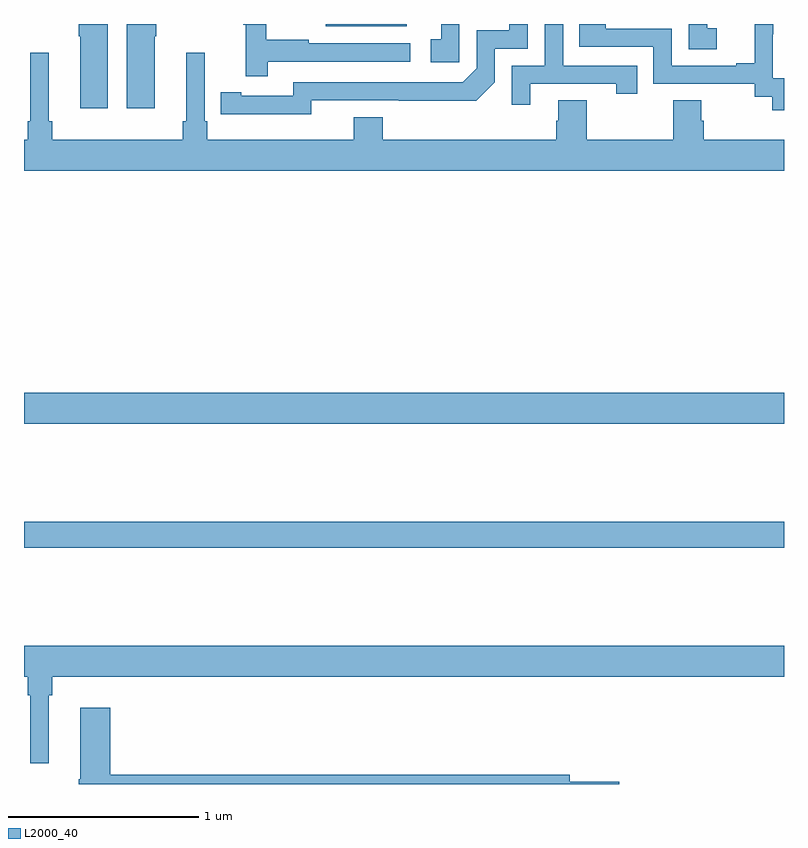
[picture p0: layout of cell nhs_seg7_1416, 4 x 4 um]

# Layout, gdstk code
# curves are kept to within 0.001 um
import gdstk
lib = gdstk.Library(unit=1e-6, precision=1e-09)
def R(c, l, rs):  # rectangles x0, y0, x1, y1
    for r in rs: c.add(gdstk.rectangle(r[:2], r[2:], *l))
def P(c, l, *ps):  # polygons
    for p in ps: c.add(gdstk.Polygon(p, *l))
L2000_40 = (2000, 40)

nhs_seg7_1416 = lib.new_cell('nhs_seg7_1416')
R(nhs_seg7_1416, L2000_40, [(207,1053.244,211,1053.38), (207,1053.896,211,1054.06), (208.587,1055.987,209.014,1056)])
P(nhs_seg7_1416, L2000_40, [(207.688,1055.935),(207.696,1055.935),(207.696,1056),(207.542,1056),(207.542,1055.556),(207.688,1055.556)],
  [(207.442,1056),(207.289,1056),(207.289,1055.935),(207.296,1055.935),(207.296,1055.556),(207.442,1055.556)],
  [(211,1055.715),(210.942,1055.715),(210.942,1055.945),(210.944,1055.945),(210.944,1056),(210.845,1056),(210.845,1055.794),(210.749,1055.794),(210.749,1055.781),(210.408,1055.781),(210.408,1055.976),(210.063,1055.976),(210.063,1056),(209.923,1056),(209.923,1055.88),(210.312,1055.88),(210.312,1055.685),(210.846,1055.685),(210.846,1055.617),(210.939,1055.617),(210.939,1055.547),(211,1055.547)],
  [(208.283,1055.802),(209.032,1055.802),(209.032,1055.898),(208.499,1055.898),(208.499,1055.918),(208.276,1055.918),(208.276,1056),(208.155,1056),(208.155,1055.995),(208.166,1055.995),(208.166,1055.724),(208.283,1055.724)],
  [(209.292,1056),(209.195,1056),(209.195,1055.919),(209.142,1055.919),(209.142,1055.799),(209.292,1055.799)],
  [(208.512,1055.598),(209.38,1055.597),(209.478,1055.694),(209.478,1055.871),(209.652,1055.871),(209.652,1056),(209.555,1056),(209.555,1055.967),(209.382,1055.967),(209.382,1055.766),(209.31,1055.694),(208.416,1055.694),(208.416,1055.622),(208.144,1055.622),(208.144,1055.642),(208.036,1055.642),(208.036,1055.526),(208.512,1055.525)],
  [(210.646,1055.977),(210.597,1055.977),(210.597,1056),(210.498,1056),(210.498,1055.868),(210.646,1055.868)],
  [(209.665,1055.685),(210.116,1055.685),(210.116,1055.634),(210.227,1055.634),(210.227,1055.781),(209.838,1055.781),(209.838,1056),(209.742,1056),(209.742,1055.781),(209.568,1055.781),(209.568,1055.574),(209.665,1055.574)],
  [(209.813,1055.6),(209.813,1055.49),(209.801,1055.49),(209.801,1055.392),(208.889,1055.392),(208.889,1055.509),(208.736,1055.509),(208.736,1055.392),(207.965,1055.392),(207.965,1055.488),(207.951,1055.488),(207.951,1055.848),(207.854,1055.848),(207.854,1055.488),(207.835,1055.488),(207.835,1055.392),(207.149,1055.392),(207.149,1055.488),(207.13,1055.488),(207.13,1055.848),(207.033,1055.848),(207.033,1055.488),(207.02,1055.488),(207.02,1055.392),(207,1055.392),(207,1055.228),(211,1055.228),(211,1055.392),(210.578,1055.392),(210.578,1055.49),(210.565,1055.49),(210.565,1055.6),(210.418,1055.6),(210.418,1055.392),(209.961,1055.392),(209.961,1055.6)],
  [(207.13,1052.468),(207.149,1052.468),(207.149,1052.564),(211,1052.564),(211,1052.728),(207,1052.728),(207,1052.564),(207.02,1052.564),(207.02,1052.468),(207.033,1052.468),(207.033,1052.109),(207.13,1052.109)],
  [(210.133,1052.012),(209.872,1052.012),(209.872,1052.048),(207.455,1052.048),(207.455,1052.401),(207.296,1052.401),(207.296,1052.025),(207.289,1052.025),(207.289,1052),(210.133,1052)])

lib.write_gds('nhs_seg7_1416.gds')
